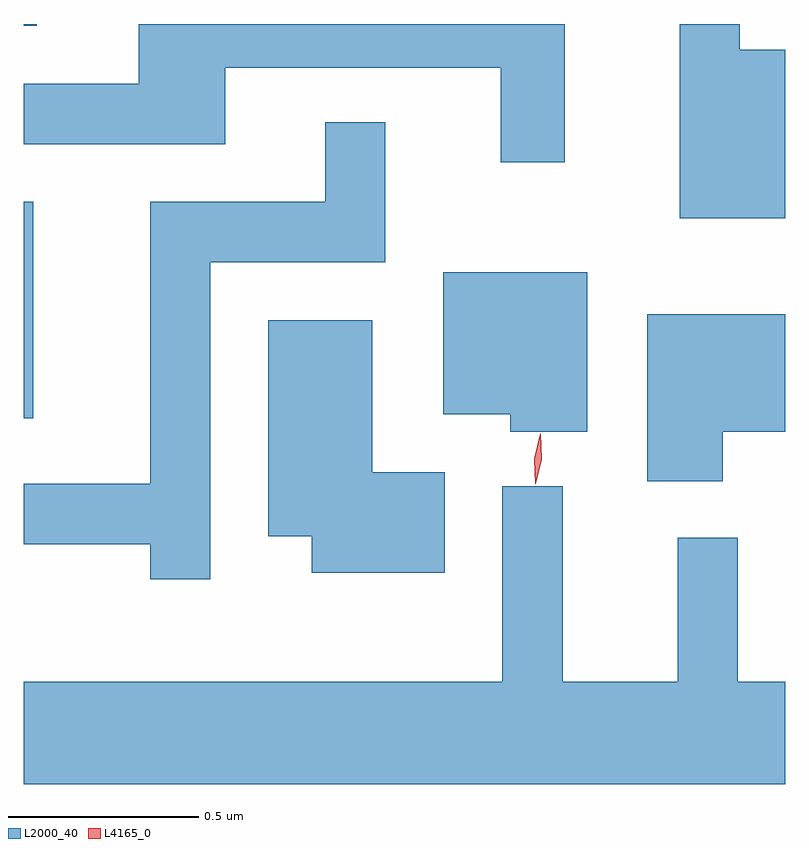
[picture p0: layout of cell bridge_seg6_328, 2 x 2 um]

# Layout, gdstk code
import gdstk
lib = gdstk.Library(unit=1e-6, precision=1e-09)
def R(c, l, rs):  # rectangles x0, y0, x1, y1
    for r in rs: c.add(gdstk.rectangle(r[:2], r[2:], *l))
def P(c, l, *ps):  # polygons
    for p in ps: c.add(gdstk.Polygon(p, *l))
L2000_40 = (2000, 40)
L4165_0 = (4165, 0)

bridge_seg6_328 = lib.new_cell('bridge_seg6_328')
R(bridge_seg6_328, L2000_40, [(1270.369,1562.096,1270.394,1562.664), (1270.369,1563.126,1270.404,1563.131)])
P(bridge_seg6_328, L2000_40, [(1271.789,1563.131),(1270.671,1563.131),(1270.671,1562.974),(1270.369,1562.974),(1270.369,1562.816),(1270.899,1562.816),(1270.899,1563.016),(1271.621,1563.016),(1271.621,1562.768),(1271.789,1562.768)],
  [(1272.369,1563.064),(1272.249,1563.064),(1272.249,1563.131),(1272.091,1563.131),(1272.091,1562.621),(1272.369,1562.621)],
  [(1270.859,1562.506),(1271.319,1562.506),(1271.319,1562.873),(1271.161,1562.873),(1271.161,1562.664),(1270.701,1562.664),(1270.701,1561.924),(1270.369,1561.924),(1270.369,1561.766),(1270.701,1561.766),(1270.701,1561.673),(1270.859,1561.673)],
  [(1271.849,1562.479),(1271.471,1562.479),(1271.471,1562.106),(1271.646,1562.106),(1271.646,1562.061),(1271.849,1562.061)],
  [(1272.204,1562.061),(1272.369,1562.061),(1272.369,1562.369),(1272.006,1562.369),(1272.006,1561.931),(1272.204,1561.931)],
  [(1271.474,1561.954),(1271.284,1561.954),(1271.284,1562.354),(1271.011,1562.354),(1271.011,1561.786),(1271.126,1561.786),(1271.126,1561.691),(1271.474,1561.691)],
  [(1272.369,1561.404),(1272.244,1561.404),(1272.244,1561.783),(1272.086,1561.783),(1272.086,1561.404),(1271.784,1561.404),(1271.784,1561.918),(1271.626,1561.918),(1271.626,1561.404),(1270.369,1561.404),(1270.369,1561.136),(1272.369,1561.136)])
P(bridge_seg6_328, L4165_0, [(1271.713,1561.923),(1271.712,1561.924),(1271.709,1561.99),(1271.725,1562.055),(1271.725,1562.056),(1271.726,1562.055),(1271.729,1561.988),(1271.713,1561.924)])

lib.write_gds('bridge_seg6_328.gds')
